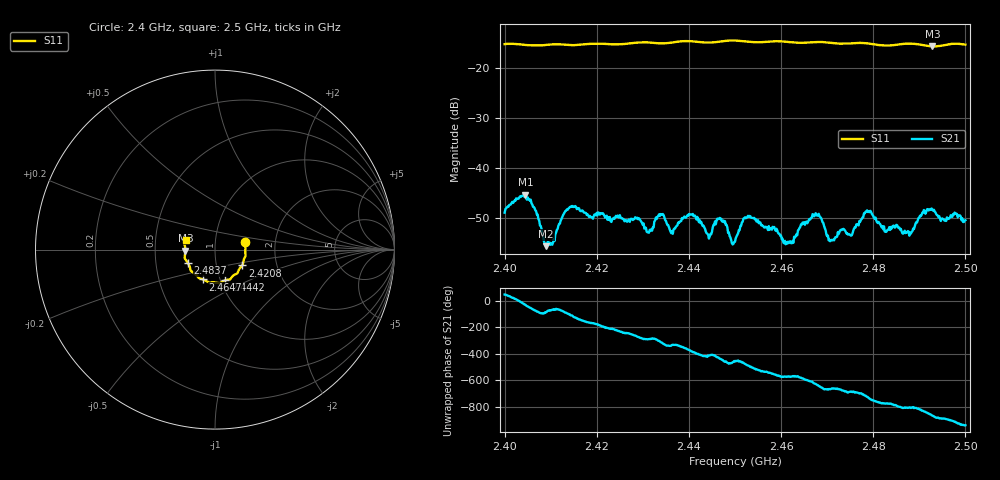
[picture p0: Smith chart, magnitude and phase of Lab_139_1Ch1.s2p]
# Hz S RI R 50
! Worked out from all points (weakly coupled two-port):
!   601 points, 2.4 GHz to 2.5 GHz, reference 50 ohm
!   highest |S21| = -45.39 dB at 2.4045 GHz (marker M1); lowest = -55.7 dB at 2.409 GHz (marker M2)
!   lowest |S11| = -15.6 dB at 2.4928 GHz (marker M3), VSWR 1.40, Z = 35.8 - j0.394 ohm
!   |S11| at or under -10 dB: start of sweep to end of sweep
!   S12 and S22 are empty: the file has one direction only
!   S11 on the Smith chart (normalised r, x): 2.4 GHz: 1.40, +0.12; 2.4208 GHz: 1.33, -0.24; 2.4442 GHz: 1.05, -0.37; 2.4647 GHz: 0.83, -0.28; 2.4837 GHz: 0.73, -0.11; 2.5 GHz: 0.71, +0.08
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2.4e9  0.1688 0.0404  0.00252 0.00252  0 0  0 0
2.4045e9  0.1699 0.0142  0.00459 -0.0028  0 0  0 0
2.409e9  0.1688 -0.0234  4.07e-05 -0.00164  0 0  0 0
2.413667e9  0.1641 -0.0477  -0.00055 -0.00376  0 0  0 0
2.416667e9  0.1581 -0.0682  -0.00312 -0.00197  0 0  0 0
2.420833e9  0.1517 -0.0882  -0.00348 0.000558  0 0  0 0
2.431333e9  0.1201 -0.1346  0.000772 0.00211  0 0  0 0
2.433333e9  0.1085 -0.1402  0.00177 0.0028  0 0  0 0
2.440833e9  0.0791 -0.1678  0.00307 -0.0016  0 0  0 0
2.444167e9  0.0568 -0.1707  0.00128 -0.00172  0 0  0 0
2.446667e9  0.0382 -0.1799  0.000718 -0.00307  0 0  0 0
2.45e9  0.0246 -0.1874  -0.000229 -0.00181  0 0  0 0
2.452667e9  0.0118 -0.184  -0.0019 -0.00258  0 0  0 0
2.461e9  -0.0404 -0.1794  -0.00145 0.00092  0 0  0 0
2.464667e9  -0.0672 -0.1661  -0.00199 0.00202  0 0  0 0
2.466667e9  -0.0811 -0.1622  -0.00113 0.00298  0 0  0 0
2.470833e9  -0.096 -0.151  0.00106 0.00156  0 0  0 0
2.478833e9  -0.1371 -0.1114  0.0036 -0.000326  0 0  0 0
2.483333e9  -0.1498 -0.0763  0.00143 -0.00196  0 0  0 0
2.483667e9  -0.1515 -0.0732  0.0014 -0.00193  0 0  0 0
2.492833e9  -0.165 -0.00535  -0.0031 -0.0022  0 0  0 0
2.5e9  -0.164 0.0518  -0.0024 0.00179  0 0  0 0
